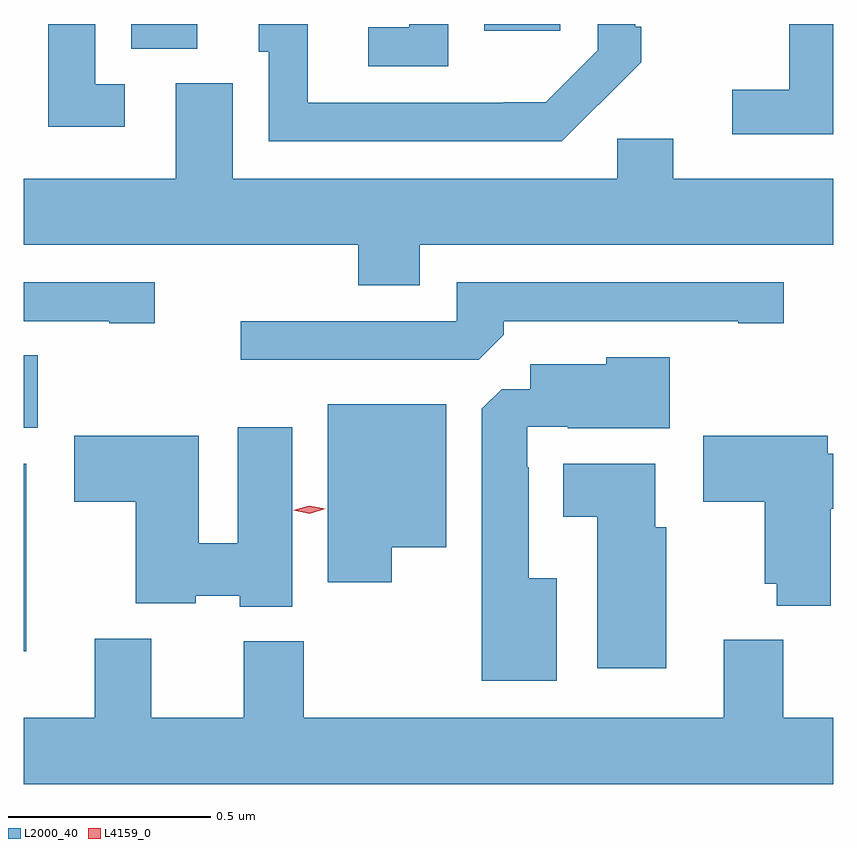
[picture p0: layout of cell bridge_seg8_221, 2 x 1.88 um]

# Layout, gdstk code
import gdstk
lib = gdstk.Library(unit=1e-6, precision=1e-09)
def R(c, l, rs):  # rectangles x0, y0, x1, y1
    for r in rs: c.add(gdstk.rectangle(r[:2], r[2:], *l))
def P(c, l, *ps):  # polygons
    for p in ps: c.add(gdstk.Polygon(p, *l))
L2000_40 = (2000, 40)
L4159_0 = (4159, 0)

bridge_seg8_221 = lib.new_cell('bridge_seg8_221')
R(bridge_seg8_221, L2000_40, [(135.973,1111.5,135.979,1111.963), (135.973,1112.052,136.007,1112.231), (136.238,1112.989,136.402,1113.05), (137.111,1113.033,137.299,1113.05)])
P(bridge_seg8_221, L2000_40, [(137.393,1112.851),(137.394,1112.85),(137.499,1112.955),(137.499,1113.043),(137.484,1113.043),(137.484,1113.05),(137.391,1113.05),(137.391,1112.985),(137.263,1112.857),(137.159,1112.857),(137.159,1112.856),(136.675,1112.856),(136.675,1113.05),(136.553,1113.05),(136.553,1112.982),(136.578,1112.982),(136.578,1112.76),(137.302,1112.76)],
  [(137.973,1113.05),(137.864,1113.05),(137.864,1112.887),(137.724,1112.887),(137.724,1112.778),(137.973,1112.778)],
  [(136.222,1112.901),(136.149,1112.901),(136.149,1113.05),(136.033,1113.05),(136.033,1112.796),(136.222,1112.796)],
  [(137.022,1113.05),(136.926,1113.05),(136.926,1113.042),(136.824,1113.042),(136.824,1112.946),(137.022,1112.946)],
  [(136.951,1112.504),(137.973,1112.504),(137.973,1112.668),(137.578,1112.668),(137.578,1112.766),(137.439,1112.766),(137.439,1112.668),(136.489,1112.668),(136.489,1112.904),(136.349,1112.904),(136.349,1112.668),(135.973,1112.668),(135.973,1112.504),(136.799,1112.504),(136.799,1112.405),(136.951,1112.405)],
  [(136.297,1112.412),(135.973,1112.412),(135.973,1112.316),(136.184,1112.316),(136.184,1112.311),(136.297,1112.311)],
  [(137.159,1112.282),(137.159,1112.316),(137.738,1112.316),(137.738,1112.311),(137.851,1112.311),(137.851,1112.412),(137.043,1112.412),(137.043,1112.316),(136.509,1112.316),(136.509,1112.22),(137.097,1112.22)],
  [(137.29,1111.681),(137.221,1111.681),(137.221,1111.955),(137.217,1111.955),(137.217,1112.055),(137.317,1112.055),(137.317,1112.051),(137.569,1112.051),(137.569,1112.227),(137.412,1112.227),(137.412,1112.209),(137.225,1112.209),(137.225,1112.148),(137.154,1112.148),(137.105,1112.099),(137.105,1111.427),(137.29,1111.427)],
  [(136.882,1111.757),(137.017,1111.757),(137.017,1112.11),(136.724,1112.11),(136.724,1111.671),(136.882,1111.671)],
  [(136.636,1112.053),(136.502,1112.053),(136.502,1111.767),(136.405,1111.767),(136.405,1112.032),(136.098,1112.032),(136.098,1111.87),(136.25,1111.87),(136.25,1111.619),(136.398,1111.619),(136.398,1111.637),(136.506,1111.637),(136.506,1111.61),(136.636,1111.61)],
  [(137.967,1111.852),(137.973,1111.852),(137.973,1111.988),(137.959,1111.988),(137.959,1112.032),(137.652,1112.032),(137.652,1111.87),(137.804,1111.87),(137.804,1111.667),(137.834,1111.667),(137.834,1111.613),(137.967,1111.613)],
  [(137.56,1111.806),(137.533,1111.806),(137.533,1111.963),(137.306,1111.963),(137.306,1111.832),(137.39,1111.832),(137.39,1111.458),(137.56,1111.458)],
  [(137.973,1111.336),(137.85,1111.336),(137.85,1111.528),(137.702,1111.528),(137.702,1111.336),(136.665,1111.336),(136.665,1111.525),(136.517,1111.525),(136.517,1111.336),(136.288,1111.336),(136.288,1111.531),(136.148,1111.531),(136.148,1111.336),(135.973,1111.336),(135.973,1111.172),(137.973,1111.172)])
P(bridge_seg8_221, L4159_0, [(136.679,1111.84),(136.639,1111.849),(136.639,1111.849),(136.639,1111.849),(136.678,1111.86),(136.718,1111.852),(136.718,1111.852),(136.718,1111.852)])

lib.write_gds('bridge_seg8_221.gds')
